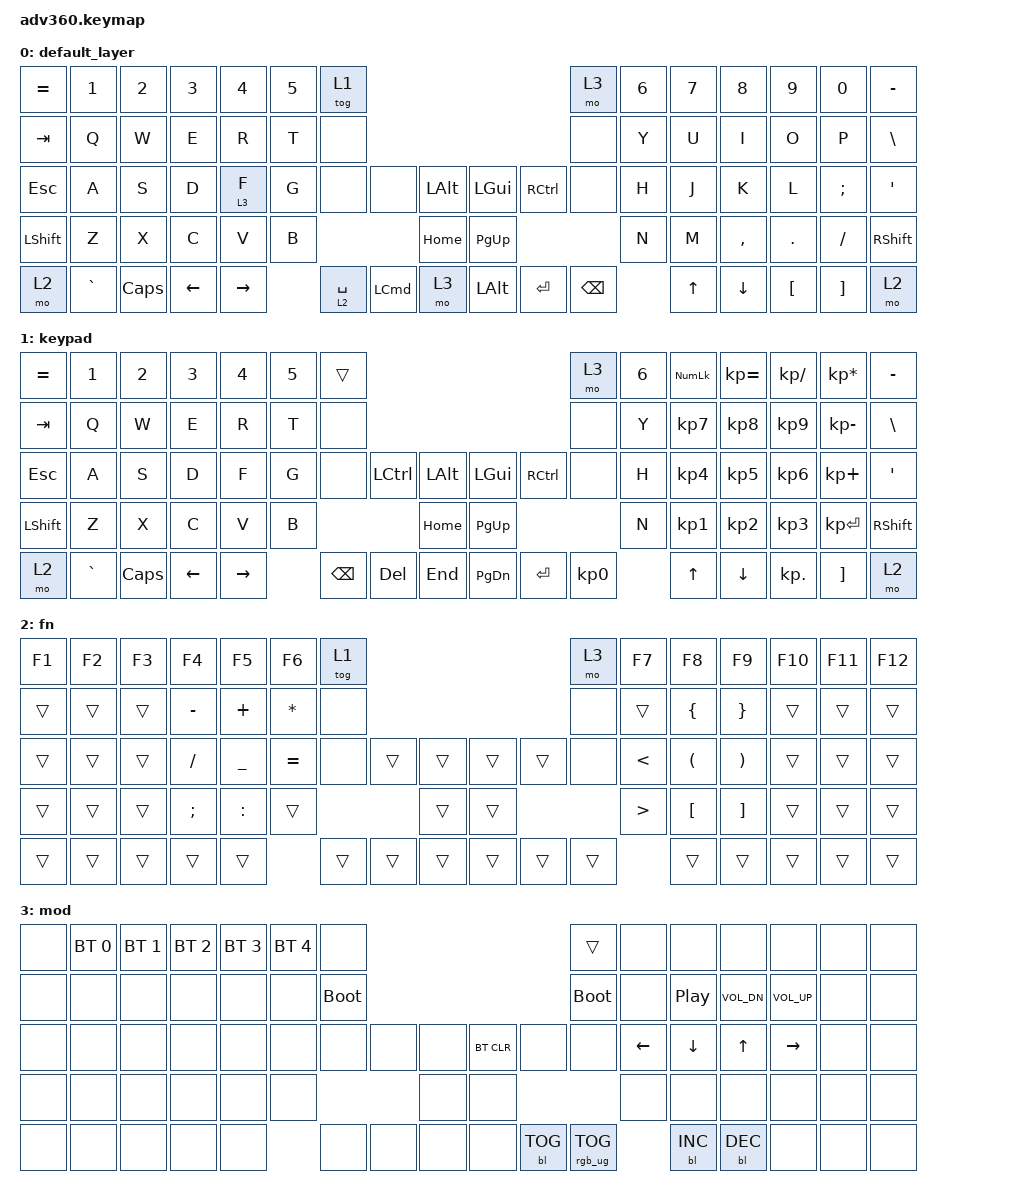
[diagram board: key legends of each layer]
#include <behaviors.dtsi>
#include <dt-bindings/zmk/backlight.h>
#include <dt-bindings/zmk/bt.h>
#include <dt-bindings/zmk/keys.h>
#include <dt-bindings/zmk/rgb.h>

/ {
    behaviors {
        #include "macros.dtsi"
        #include "version.dtsi"
        
        kp_aa: kp_aa {
            compatible = "zmk,behavior-macro";
            #binding-cells = <0>;
            bindings = <&kp LALT &kp A>;
            label = "KP_AA";
        };

        kp_ae: kp_ae {
            compatible = "zmk,behavior-macro";
            #binding-cells = <0>;
            bindings = <&kp LALT &kp U>, <&kp A>;
            label = "KP_AE";
        };

        kp_oo: kp_oo {
            compatible = "zmk,behavior-macro";
            #binding-cells = <0>;
            bindings = <&kp LALT &kp U>, <&kp O>;
            label = "KP_OO";
        };
   };

    macros {
    };

    keymap {
        compatible = "zmk,keymap";

        default_layer {
            bindings = <
&kp EQUAL  &kp N1    &kp N2    &kp N3    &kp N4     &kp N5  &tog 1                                                                &mo 3          &kp N6  &kp N7  &kp N8     &kp N9    &kp N0         &kp MINUS
&kp TAB    &kp Q      &kp W     &kp E     &kp R      &kp T   &none                                                                 &none          &kp Y   &kp U   &kp I      &kp O     &kp P          &kp BACKSLASH
&kp ESC    &kp A      &kp S     &kp D     &lt 3 F    &kp G   &none        &none             &kp LALT      &kp LGUI      &kp RCTRL  &none          &kp H   &kp J   &kp K      &kp L     &kp SEMICOLON  &kp SINGLE_QUOTE
&kp LSHFT  &kp Z      &kp X     &kp C     &kp V      &kp B                                  &kp HOME      &kp PG_UP                               &kp N   &kp M   &kp COMMA  &kp DOT   &kp FSLH       &kp RSHFT
&mo 2      &kp GRAVE  &kp CAPS  &kp LEFT  &kp RIGHT          &lt 2 SPACE  &kp LEFT_COMMAND  &mo 3         &kp LEFT_ALT  &kp ENTER  &kp BACKSPACE          &kp UP  &kp DOWN   &kp LBKT  &kp RBKT       &mo 2
            >;
        };

        keypad {
            bindings = <
&kp EQUAL  &kp N1     &kp N2    &kp N3    &kp N4     &kp N5  &trans                                                   &mo 3      &kp N6  &kp KP_NUM  &kp KP_EQUAL  &kp KP_DIVIDE  &kp KP_MULTIPLY  &kp MINUS
&kp TAB    &kp Q      &kp W     &kp E     &kp R      &kp T   &none                                                    &none      &kp Y   &kp KP_N7   &kp KP_N8     &kp KP_N9      &kp KP_MINUS     &kp BSLH
&kp ESC    &kp A      &kp S     &kp D     &kp F      &kp G   &none     &kp LCTRL  &kp LALT      &kp LGUI   &kp RCTRL  &none      &kp H   &kp KP_N4   &kp KP_N5     &kp KP_N6      &kp KP_PLUS      &kp SQT
&kp LSHFT  &kp Z      &kp X     &kp C     &kp V      &kp B                        &kp HOME      &kp PG_UP                        &kp N   &kp KP_N1   &kp KP_N2     &kp KP_N3      &kp KP_ENTER     &kp RSHFT
&mo 2      &kp GRAVE  &kp CAPS  &kp LEFT  &kp RIGHT          &kp BSPC  &kp DEL    &kp END       &kp PG_DN  &kp ENTER  &kp KP_N0          &kp UP      &kp DOWN      &kp KP_DOT     &kp RBKT         &mo 2
            >;
        };

        fn {
            bindings = <
&kp F1  &kp F2  &kp F3  &kp F4     &kp F5     &kp F6     &tog 1                                      &mo 3   &kp F7            &kp F8                &kp F9                 &kp F10  &kp F11  &kp F12
&trans  &trans  &trans  &kp MINUS  &kp PLUS   &kp STAR   &none                                       &none   &trans            &kp LEFT_BRACE        &kp RIGHT_BRACE        &trans   &trans   &trans
&trans  &trans  &trans  &kp SLASH  &kp UNDER  &kp EQUAL  &none   &trans  &trans      &trans  &trans  &none   &kp LESS_THAN     &kp LEFT_PARENTHESIS  &kp RIGHT_PARENTHESIS  &trans   &trans   &trans
&trans  &trans  &trans  &kp SEMI   &kp COLON  &trans                     &trans      &trans                  &kp GREATER_THAN  &kp LEFT_BRACKET      &kp RIGHT_BRACKET      &trans   &trans   &trans
&trans  &trans  &trans  &trans     &trans                &trans  &trans  &trans      &trans  &trans  &trans                    &trans                &trans                 &trans   &trans   &trans
            >;
        };

        mod {
            bindings = <
&none  &bt BT_SEL 0  &bt BT_SEL 1  &bt BT_SEL 2  &bt BT_SEL 3  &bt BT_SEL 4  &none                                                  &trans           &none     &none             &none         &none         &none  &none
&none  &none         &none         &none         &none         &none         &bootloader                                            &bootloader      &none     &kp C_PLAY_PAUSE  &kp C_VOL_DN  &kp C_VOL_UP  &none  &none
&none  &none         &none         &none         &none         &none         &none        &none  &none      &bt BT_CLR  &none       &none            &kp LEFT  &kp DOWN          &kp UP_ARROW  &kp RIGHT     &none  &none
&none  &none         &none         &none         &none         &none                             &none      &none                                    &none     &none             &none         &none         &none  &none
&none  &none         &none         &none         &none                       &none        &none  &none      &none       &bl BL_TOG  &rgb_ug RGB_TOG            &bl BL_INC        &bl BL_DEC    &none         &none  &none
            >;
        };
    };
};
